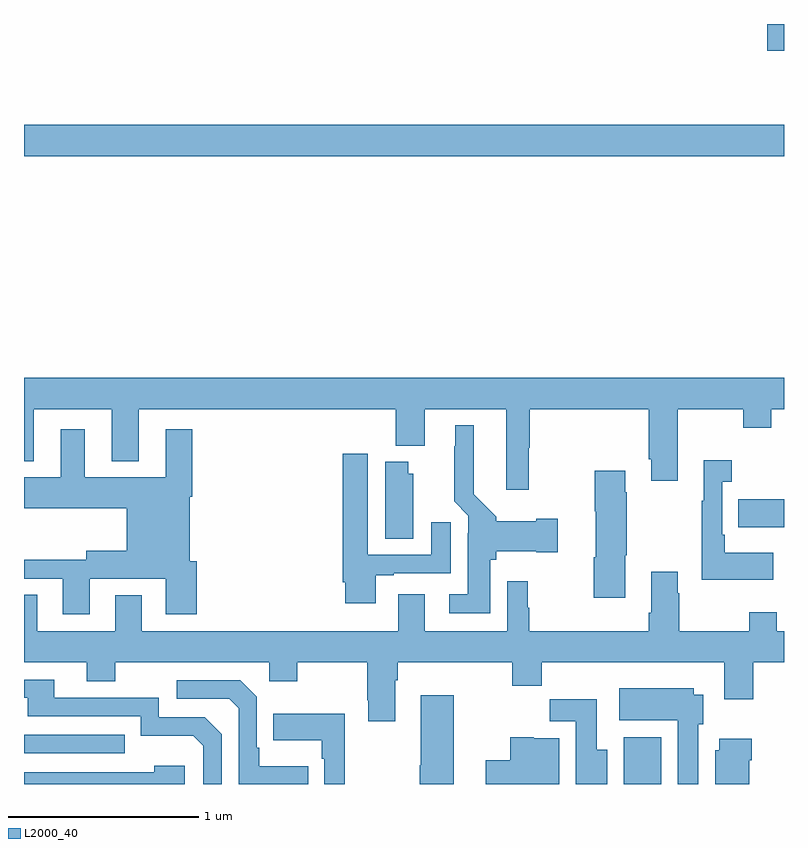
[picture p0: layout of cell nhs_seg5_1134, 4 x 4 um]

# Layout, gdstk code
import gdstk
lib = gdstk.Library(unit=1e-6, precision=1e-09)
def R(c, l, rs):  # rectangles x0, y0, x1, y1
    for r in rs: c.add(gdstk.rectangle(r[:2], r[2:], *l))
def P(c, l, *ps):  # polygons
    for p in ps: c.add(gdstk.Polygon(p, *l))
L2000_40 = (2000, 40)

nhs_seg5_1134 = lib.new_cell('nhs_seg5_1134')
R(nhs_seg5_1134, L2000_40, [(184.157,842.799,184.353,843.046), (181,842.961,181.529,843.057), (184.759,844.151,185,844.299), (181,846.104,185,846.268), (184.913,846.657,185,846.799)])
P(nhs_seg5_1134, L2000_40, [(183.657,844.568),(183.662,844.568),(183.662,844.772),(184.289,844.772),(184.289,844.507),(184.301,844.507),(184.301,844.395),(184.441,844.395),(184.441,844.772),(184.786,844.772),(184.786,844.673),(184.933,844.673),(184.933,844.772),(185,844.772),(185,844.936),(181,844.936),(181,844.499),(181.051,844.499),(181.051,844.772),(181.463,844.772),(181.463,844.499),(181.603,844.499),(181.603,844.772),(182.957,844.772),(182.957,844.58),(183.109,844.58),(183.109,844.772),(183.539,844.772),(183.539,844.347),(183.657,844.347)],
  [(183.454,843.978),(183.485,843.978),(183.485,844.025),(183.695,844.025),(183.695,844.018),(183.808,844.018),(183.808,844.196),(183.695,844.196),(183.695,844.183),(183.485,844.183),(183.485,844.206),(183.367,844.324),(183.367,844.687),(183.269,844.687),(183.269,844.577),(183.265,844.577),(183.265,844.286),(183.339,844.212),(183.339,844.118),(183.335,844.118),(183.335,843.799),(183.237,843.799),(183.237,843.698),(183.454,843.698)],
  [(181.345,843.878),(181.745,843.878),(181.745,843.693),(181.91,843.693),(181.91,843.972),(181.873,843.972),(181.873,844.31),(181.886,844.31),(181.886,844.666),(181.745,844.666),(181.745,844.414),(181.321,844.414),(181.321,844.666),(181.193,844.666),(181.193,844.414),(181,844.414),(181,844.25),(181.541,844.25),(181.541,844.027),(181.328,844.027),(181.328,843.98),(181,843.98),(181,843.879),(181.205,843.879),(181.205,843.693),(181.345,843.693)],
  [(182.851,843.897),(182.947,843.897),(182.947,843.909),(183.247,843.909),(183.247,844.177),(183.143,844.177),(183.143,844.005),(182.809,844.005),(182.809,844.537),(182.678,844.537),(182.678,843.862),(182.69,843.862),(182.69,843.75),(182.851,843.75)],
  [(184.943,844.015),(184.687,844.015),(184.687,844.111),(184.674,844.111),(184.674,844.391),(184.726,844.391),(184.726,844.504),(184.577,844.504),(184.577,844.291),(184.566,844.291),(184.566,843.875),(184.943,843.875)],
  [(183.049,844.431),(183.022,844.431),(183.022,844.495),(182.9,844.495),(182.9,844.09),(183.049,844.09)],
  [(184.165,844.003),(184.173,844.003),(184.173,844.334),(184.165,844.334),(184.165,844.447),(184.003,844.447),(184.003,844.234),(184.01,844.234),(184.01,843.992),(183.998,843.992),(183.998,843.78),(184.165,843.78)],
  [(182.953,843.344),(182.966,843.344),(182.966,843.44),(183.569,843.44),(183.569,843.316),(183.725,843.316),(183.725,843.44),(184.685,843.44),(184.685,843.246),(184.838,843.246),(184.838,843.44),(185,843.44),(185,843.604),(184.962,843.604),(184.962,843.703),(184.816,843.703),(184.816,843.604),(184.449,843.604),(184.449,843.803),(184.441,843.803),(184.441,843.916),(184.301,843.916),(184.301,843.7),(184.289,843.7),(184.289,843.604),(183.659,843.604),(183.659,843.726),(183.652,843.726),(183.652,843.865),(183.543,843.865),(183.543,843.604),(183.109,843.604),(183.109,843.799),(182.969,843.799),(182.969,843.604),(181.621,843.604),(181.621,843.793),(181.481,843.793),(181.481,843.604),(181.069,843.604),(181.069,843.794),(181,843.794),(181,843.44),(181.331,843.44),(181.331,843.341),(181.479,843.341),(181.479,843.44),(182.292,843.44),(182.292,843.341),(182.439,843.341),(182.439,843.44),(182.806,843.44),(182.806,843.241),(182.813,843.241),(182.813,843.129),(182.953,843.129)],
  [(182.04,843.06),(181.95,843.15),(181.71,843.15),(181.71,843.252),(181.159,843.252),(181.159,843.348),(181,843.348),(181,843.252),(181.019,843.252),(181.019,843.156),(181.614,843.156),(181.614,843.053),(181.891,843.053),(181.944,843),(181.944,842.799),(182.04,842.799)],
  [(182.495,842.893),(182.239,842.893),(182.239,842.989),(182.226,842.989),(182.226,843.258),(182.139,843.345),(181.803,843.345),(181.803,843.249),(182.079,843.249),(182.13,843.198),(182.13,842.799),(182.495,842.799)],
  [(184.549,843.114),(184.576,843.114),(184.576,843.268),(184.525,843.268),(184.525,843.304),(184.133,843.304),(184.133,843.134),(184.442,843.134),(184.442,842.799),(184.549,842.799)],
  [(183.262,843.265),(183.089,843.265),(183.089,842.899),(183.082,842.899),(183.082,842.799),(183.262,842.799)],
  [(184.069,842.98),(184.015,842.98),(184.015,843.246),(183.766,843.246),(183.766,843.128),(183.905,843.128),(183.905,842.799),(184.069,842.799)],
  [(182.689,843.169),(182.311,843.169),(182.311,843.029),(182.568,843.029),(182.568,842.933),(182.58,842.933),(182.58,842.799),(182.689,842.799)],
  [(183.817,843.04),(183.684,843.04),(183.684,843.046),(183.559,843.046),(183.559,842.925),(183.429,842.925),(183.429,842.799),(183.817,842.799)],
  [(184.816,842.924),(184.829,842.924),(184.829,843.037),(184.658,843.037),(184.658,842.976),(184.637,842.976),(184.637,842.799),(184.816,842.799)],
  [(181.846,842.896),(181.685,842.896),(181.685,842.862),(181,842.862),(181,842.799),(181.846,842.799)])

lib.write_gds('nhs_seg5_1134.gds')
